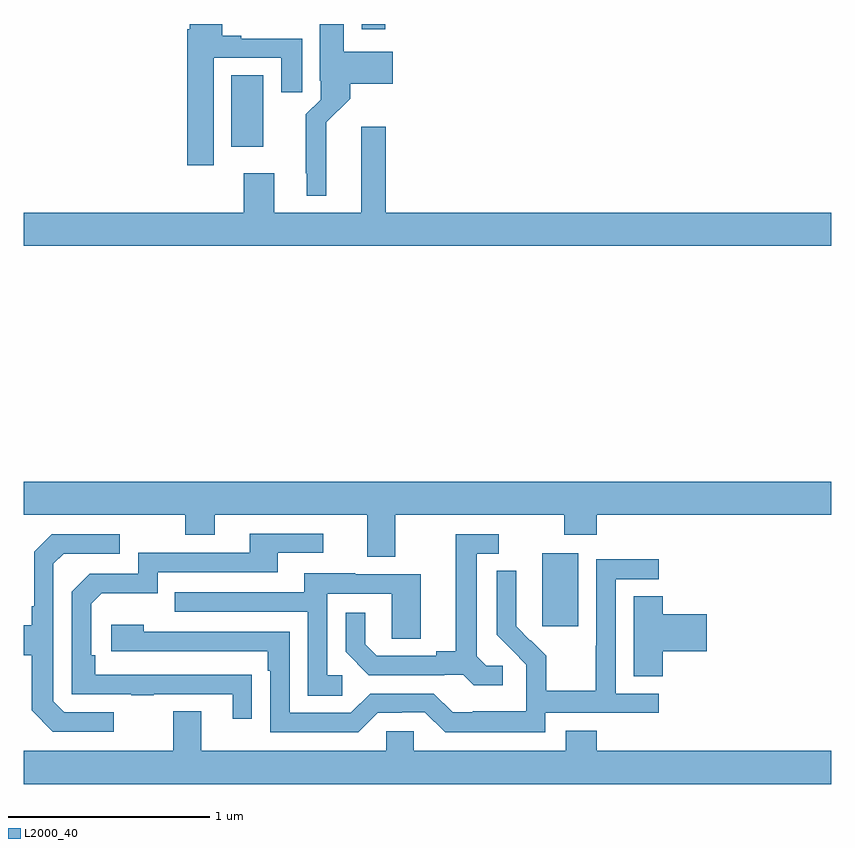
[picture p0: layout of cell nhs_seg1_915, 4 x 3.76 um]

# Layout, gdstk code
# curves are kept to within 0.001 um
import gdstk
lib = gdstk.Library(unit=1e-6, precision=1e-09)
def R(c, l, rs):  # rectangles x0, y0, x1, y1
    for r in rs: c.add(gdstk.rectangle(r[:2], r[2:], *l))
def P(c, l, *ps):  # polygons
    for p in ps: c.add(gdstk.Polygon(p, *l))
L2000_40 = (2000, 40)

nhs_seg1_915 = lib.new_cell('nhs_seg1_915')
R(nhs_seg1_915, L2000_40, [(163.568,515.217,163.747,515.578), (162.029,517.59,162.187,517.946), (162.675,518.172,162.791,518.199)])
P(nhs_seg1_915, L2000_40, [(162.499,517.712),(162.617,517.83),(162.617,517.904),(162.829,517.904),(162.829,518.062),(162.586,518.062),(162.586,518.199),(162.467,518.199),(162.467,517.918),(162.471,517.918),(162.471,517.824),(162.398,517.751),(162.398,517.459),(162.401,517.459),(162.401,517.349),(162.499,517.349)],
  [(161.941,518.031),(162.275,518.031),(162.275,517.86),(162.379,517.86),(162.379,518.127),(162.079,518.127),(162.079,518.14),(161.983,518.14),(161.983,518.199),(161.822,518.199),(161.822,518.174),(161.81,518.174),(161.81,517.5),(161.941,517.5)],
  [(165,517.264),(162.794,517.264),(162.794,517.69),(162.671,517.69),(162.671,517.264),(162.241,517.264),(162.241,517.459),(162.089,517.459),(162.089,517.264),(161,517.264),(161,517.1),(165,517.1)],
  [(162.841,515.768),(163.678,515.768),(163.678,515.669),(163.838,515.669),(163.838,515.768),(165,515.768),(165,515.932),(161,515.932),(161,515.768),(161.8,515.768),(161.8,515.669),(161.947,515.669),(161.947,515.768),(162.701,515.768),(162.701,515.56),(162.841,515.56)],
  [(162.131,514.976),(161.354,514.977),(161.354,515.074),(161.334,515.074),(161.334,515.328),(161.387,515.381),(161.664,515.381),(161.664,515.484),(162.259,515.484),(162.259,515.58),(162.484,515.58),(162.484,515.676),(162.119,515.676),(162.119,515.58),(161.568,515.58),(161.568,515.478),(161.328,515.478),(161.238,515.388),(161.238,514.881),(161.533,514.881),(161.533,514.876),(161.645,514.876),(161.645,514.881),(162.035,514.881),(162.035,514.758),(162.131,514.758)],
  [(163.372,515.022),(163.29,515.022),(163.243,515.069),(163.243,515.577),(163.354,515.577),(163.354,515.673),(163.139,515.673),(163.139,515.093),(163.043,515.093),(163.043,515.07),(162.748,515.07),(162.691,515.127),(162.691,515.284),(162.594,515.284),(162.594,515.09),(162.71,514.974),(163.082,514.974),(163.082,514.977),(163.176,514.977),(163.228,514.925),(163.372,514.925)],
  [(161.446,514.791),(161.202,514.791),(161.148,514.845),(161.148,515.526),(161.199,515.577),(161.476,515.577),(161.476,515.673),(161.139,515.673),(161.052,515.586),(161.052,515.317),(161.04,515.317),(161.04,515.221),(161,515.221),(161,515.074),(161.04,515.074),(161.04,514.801),(161.145,514.695),(161.446,514.695)],
  [(163.584,514.788),(164.146,514.788),(164.146,514.884),(163.932,514.884),(163.932,515.451),(164.146,515.451),(164.146,515.55),(163.836,515.55),(163.836,515.12),(163.834,515.12),(163.834,514.897),(163.589,514.897),(163.589,515.071),(163.512,515.148),(163.509,515.145),(163.439,515.216),(163.44,515.492),(163.344,515.492),(163.344,515.174),(163.49,515.026),(163.49,514.929),(163.488,514.929),(163.488,514.795),(163.225,514.795),(163.225,514.791),(163.125,514.791),(163.032,514.884),(162.717,514.884),(162.621,514.788),(162.318,514.788),(162.318,515.19),(161.594,515.19),(161.594,515.224),(161.433,515.224),(161.433,515.094),(162.209,515.094),(162.209,514.997),(162.222,514.997),(162.222,514.692),(162.657,514.692),(162.753,514.788),(162.872,514.788),(162.872,514.791),(162.987,514.791),(163.087,514.691),(163.584,514.691)],
  [(162.577,514.974),(162.504,514.974),(162.504,515.379),(162.822,515.379),(162.822,515.155),(162.967,515.155),(162.967,515.475),(162.643,515.475),(162.643,515.479),(162.389,515.479),(162.389,515.385),(161.749,515.385),(161.749,515.289),(162.408,515.289),(162.408,514.873),(162.577,514.873)],
  [(164.165,515.093),(164.383,515.093),(164.383,515.276),(164.165,515.276),(164.165,515.366),(164.021,515.366),(164.021,514.969),(164.165,514.969)],
  [(165,514.6),(163.838,514.6),(163.838,514.699),(163.685,514.699),(163.685,514.6),(162.933,514.6),(162.933,514.698),(162.795,514.698),(162.795,514.6),(161.881,514.6),(161.881,514.795),(161.741,514.795),(161.741,514.6),(161,514.6),(161,514.436),(165,514.436)])

lib.write_gds('nhs_seg1_915.gds')
